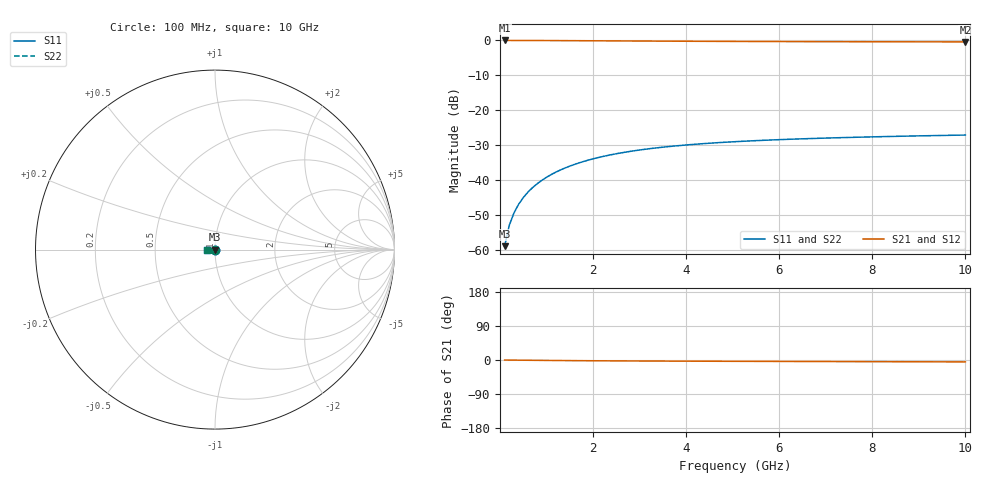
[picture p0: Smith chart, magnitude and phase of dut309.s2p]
! Touchstone file exported from HFSS 2024.1.0
!  File:  C:/UserFiles/LocalFiles/RDL_TSV_Batchsim/temp_TSV1_309_1779615780.aedt
!  Generated:  05:49:41 PM May 24, 2026
!  Design:  TSV1
!  Project:  temp_TSV1_309_1779615780
!  Setup:  Setup1
!  Solution:  Sweep
! Variables:
!  dtsv = 9.27um
!  hbump = 3um
!  htsv = 78.54um
!  lrdl = 252.1521522um
!  p = 40
!  p1 = 44.9um
!  t = 500um
!  trdl = 3um
!  wrdl = 24.89489489um
# GHz S MA R 50.000000
! Terminal data exported
! Port[1] = TSV22_T1
! Port[2] = TSV22_T2
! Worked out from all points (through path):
!   100 points, 100 MHz to 10 GHz, reference 50 ohm
!   highest |S21| = 0.00 dB at 100 MHz (marker M1); lowest = -0.4 dB at 10 GHz (marker M2)
!   lowest |S11| = -58.9 dB at 100 MHz (marker M3), VSWR 1.00, Z = 50 - j0.113 ohm
!   |S11| at or under -10 dB: start of sweep to end of sweep
!   |S22| runs from -58.9 to -27.1 dB; largest |S21 - S12| = 6.1e-15
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0.1  0.001136 -83.1  0.9998 -0.1  0.9998 -0.1  0.001136 -83.1
! Gamma 0 0 0 0
! Port Impedance 50 0 50 0
0.2  0.002257 -88.8  0.9997 -0.2  0.9997 -0.2  0.002257 -88.8
0.3  0.003382 -91.9  0.9995 -0.3  0.9995 -0.3  0.003382 -91.9
0.4  0.004505 -94.2  0.9993 -0.5  0.9993 -0.5  0.004505 -94.2
0.5  0.005621 -96.3  0.9989 -0.6  0.9989 -0.6  0.005621 -96.3
0.6  0.006725 -98.3  0.9986 -0.7  0.9986 -0.7  0.006725 -98.3
0.7  0.007817 -100.2  0.9982 -0.8  0.9982 -0.8  0.007817 -100.2
0.8  0.008894 -101.9  0.9977 -0.9  0.9977 -0.9  0.008894 -101.9
0.9  0.009954 -103.7  0.9972 -1.0  0.9972 -1.0  0.009954 -103.7
1.1  0.01202 -107.1  0.996 -1.2  0.996 -1.2  0.01202 -107.1
1.4  0.01496 -111.8  0.994 -1.5  0.994 -1.5  0.01496 -111.8
1.6  0.0168 -114.9  0.9925 -1.7  0.9925 -1.7  0.0168 -114.9
1.8  0.01855 -117.8  0.9909 -1.8  0.9909 -1.8  0.01855 -117.8
2.1  0.02098 -121.9  0.9884 -2.1  0.9884 -2.1  0.02098 -121.9
2.5  0.0239 -127.1  0.9851 -2.3  0.9851 -2.3  0.0239 -127.1
2.9  0.02645 -131.8  0.9819 -2.6  0.9819 -2.6  0.02644 -131.8
3.4  0.02918 -137.2  0.9782 -2.8  0.9782 -2.8  0.02918 -137.2
4.2  0.03269 -144.7  0.9728 -3.2  0.9728 -3.2  0.03269 -144.7
5.1  0.0357 -151.8  0.968 -3.5  0.968 -3.5  0.0357 -151.8
6.7  0.03948 -162.1  0.9616 -4.0  0.9616 -4.0  0.03948 -162.1
8.4  0.04225 -170.7  0.957 -4.5  0.957 -4.5  0.04225 -170.7
10  0.04425 -177.5  0.954 -5.0  0.954 -5.0  0.04425 -177.5
